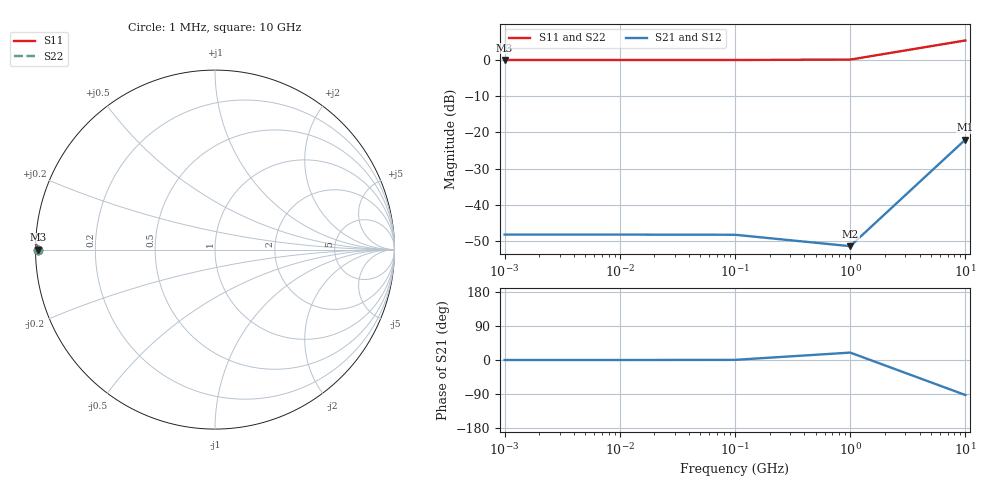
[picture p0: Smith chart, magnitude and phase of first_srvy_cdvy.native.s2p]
! Sonnet Data File
! From: em Version : 18.53-Lite
! From Project: d_svcd
! Data is NOT De-embedded
! Data File Written: 10/12/2026 11:30:30
!< HDATE 10/12/2026 11:30:30
!< MDATE 10/12/2026 11:30:30
# GHZ S RI R 50.00000
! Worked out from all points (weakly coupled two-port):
!   5 points, 1 MHz to 10 GHz, reference 50 ohm
!   highest |S21| = -22.03 dB at 10 GHz (marker M1); lowest = -51.3 dB at 1 GHz (marker M2)
!   lowest |S11| = -0.1 dB at 1 MHz (marker M3), VSWR 133.92, Z = 0.373 + j0.000851 ohm
!   |S11| at or under -10 dB: nowhere
!   |S22| runs from -0.1 to 5.2 dB; largest |S21 - S12| = 1e-14
0.001  -0.9852 3.35e-05  0.00391 2.04e-07  0.00391 2.04e-07  -0.9852 3.35e-05
0.01  -0.9852 0.000334  0.00391 2.15e-06  0.00391 2.15e-06  -0.9852 0.000334
0.1  -0.9853 0.00334  0.00389 2.28e-05  0.00389 2.28e-05  -0.9853 0.00334
1  -0.9969 0.0293  0.00255 0.000907  0.00255 0.000907  -0.9969 0.0293
10  -0.2902 1.805  -0.00335 -0.0791  -0.00335 -0.0791  -0.2902 1.805
